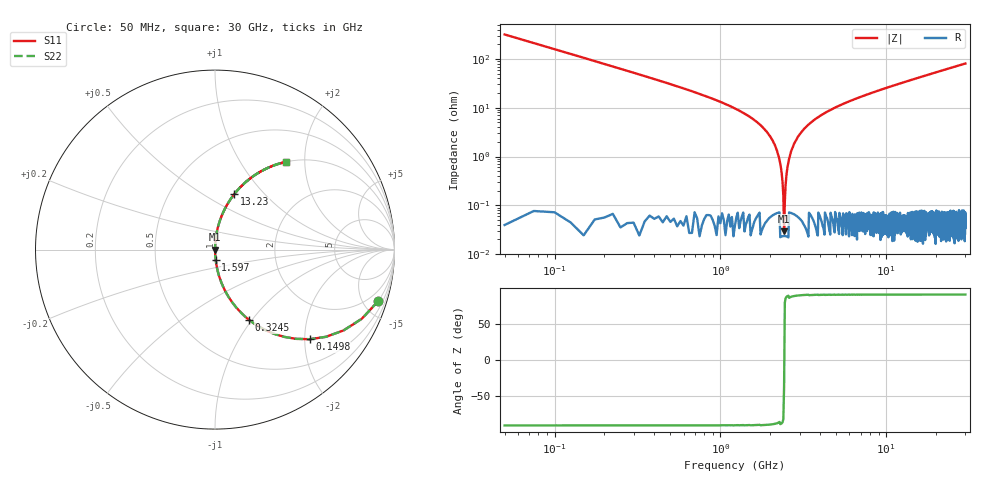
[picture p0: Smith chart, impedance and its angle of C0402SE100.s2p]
!	AVX Thin Film Operation 	Date: April 2014
!	Description: Accu-P® Series, Thin Film  SMD RF Capacitor
!	Part Number: 04023J100FBSTR
# MHZ S MA R 50
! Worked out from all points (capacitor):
!   1201 points, 50 MHz to 30 GHz, reference 50 ohm
!   read as one part in series: C = 10 pF near 199.8 MHz
!   lowest |Z| = 29.3 mohm at 2.421 GHz (marker M1)
!   series resonance near 2.424 GHz, so ESL is about 430 pH
!   S11 on the Smith chart (normalised r, x): 50 MHz: 1.00, -6.36; 149.8 MHz: 1.00, -2.12; 324.5 MHz: 1.00, -0.96; 1.597 GHz: 1.00, -0.11; 13.23 GHz: 1.00, +0.69; 30 GHz: 1.00, +1.61
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50  0.954 -17.4  0.3 72.5  0.3 72.5  0.954 -17.4
149.833  0.727 -43.4  0.687 46.6  0.687 46.6  0.727 -43.4
324.542  0.434 -64.2  0.901 25.7  0.901 25.7  0.434 -64.2
673.958  0.213 -77.6  0.977 12.3  0.977 12.3  0.213 -77.6
1597.417  0.056 -86.3  0.998 3.2  0.998 3.2  0.056 -86.3
2046.667  0.022 -87.5  0.999 1.3  0.999 1.3  0.022 -87.5
2196.417  0.013 -87.2  0.999 0.7  0.999 0.7  0.013 -87.2
2321.208  0.005723 -85.0  1 0.3  1 0.3  0.005723 -85.0
2421.042  0.0005015 -20.4  1 0.0  1 0.0  0.0005015 -20.4
2520.875  0.005151 84.5  1 -0.3  1 -0.3  0.005151 84.5
2645.667  0.011 87.0  0.999 -0.7  0.999 -0.7  0.011 87.0
2745.5  0.016 87.4  0.999 -0.9  0.999 -0.9  0.016 87.4
3119.875  0.033 87.3  0.999 -1.9  0.999 -1.9  0.033 87.3
3843.667  0.063 86.0  0.998 -3.6  0.998 -3.6  0.063 86.0
5041.667  0.104 83.8  0.994 -6.0  0.994 -6.0  0.104 83.8
7163.125  0.169 80.1  0.985 -9.7  0.985 -9.7  0.169 80.1
10058.29  0.248 75.5  0.968 -14.4  0.968 -14.4  0.248 75.5
13228  0.327 70.8  0.945 -19.1  0.945 -19.1  0.327 70.8
15025  0.368 68.3  0.929 -21.6  0.929 -21.6  0.368 68.3
20016.67  0.471 61.9  0.882 -28.1  0.882 -28.1  0.471 61.9
25033.29  0.557 56.1  0.83 -33.9  0.83 -33.9  0.557 56.1
30000  0.628 51.1  0.778 -38.9  0.778 -38.9  0.628 51.1
